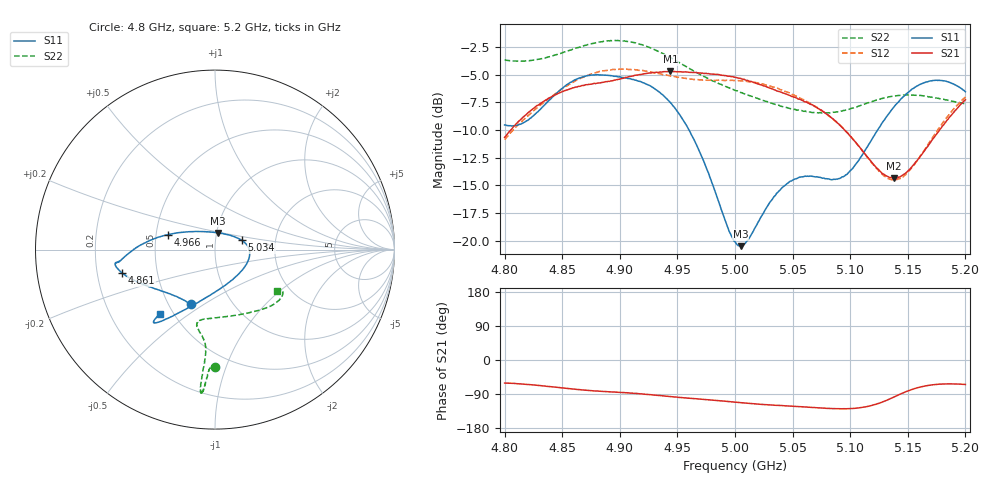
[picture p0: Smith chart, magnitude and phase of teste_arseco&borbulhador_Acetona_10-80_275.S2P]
! Network Analyzer HP8722D
! Hewlett-Packard
! Data name: Linha & Wilkinson
! Saver's name: Rodrigo Anjos
! Comments: Teste da utilização de aquisição
! continua pelo VNA HP8722D
! Time and date: 17/4/2025 16:39
!  Frequency  S11  S21  S12  S22
# HZ  S  MA R 50
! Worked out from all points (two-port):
!   401 points, 4.8 GHz to 5.2 GHz, reference 50 ohm
!   highest |S21| = -4.69 dB at 4.944 GHz (marker M1); lowest = -14.4 dB at 5.138 GHz (marker M2)
!   |S21| within 3 dB of the highest: 4.83 GHz to 5.066 GHz (236.4 MHz wide, 4.78 % of centre); 5.195722 GHz to end of sweep
!   lowest |S11| = -20.5 dB at 5.005 GHz (marker M3), VSWR 1.21, Z = 50.5 + j9.52 ohm
!   |S11| at or under -10 dB: 4.96 GHz to 5.124 GHz (163.6 MHz wide, 3.25 % of centre)
!   |S22| runs from -8.5 to -1.9 dB; largest |S21 - S12| = 0.88
!   S11 on the Smith chart (normalised r, x): 4.8 GHz: 0.64, -0.44; 4.861 GHz: 0.31, -0.11; 4.966 GHz: 0.58, +0.10; 5.034 GHz: 1.34, +0.14; 5.2 GHz: 0.42, -0.39
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4.8e9  0.3335 -113.7  0.2931 -60.9  0.2864 -175.1  0.6566 -90.2
4.819e9  0.3481 -133.7  0.3728 -64.3  0.3616 -173.8  0.651 -91.8
4.861e9  0.5337 -165.7  0.4933 -77.3  0.5272 -177.0  0.7388 -94.0
4.867e9  0.5488 -168.2  0.5026 -78.9  0.5446 -178.1  0.757 -94.2
4.9e9  0.5514 -172.6  0.5372 -85.4  0.5968 175.3  0.8015 -95.6
4.934e9  0.4713 -178.4  0.5779 -93.8  0.5707 171.7  0.7148 -95.9
4.944e9  0.4205 177.0  0.5829 -96.5  0.5551 171.9  0.6734 -95.7
4.966e9  0.2747 162.4  0.5759 -102.2  0.5352 173.7  0.5788 -95.1
5e9  0.09883 99.5  0.5483 -111.4  0.5298 176.1  0.4781 -99.2
5.005e9  0.0944 81.4  0.5417 -112.6  0.5277 175.8  0.4674 -100.5
5.012e9  0.1019 58.3  0.5272 -114.4  0.5241 175.8  0.4537 -101.8
5.034e9  0.1585 19.2  0.4811 -119.4  0.4946 174.6  0.4147 -103.5
5.05e9  0.1878 2.7  0.4481 -121.8  0.457 173.9  0.3932 -99.3
5.067e9  0.1955 -15.3  0.412 -125.3  0.4126 173.5  0.3795 -90.4
5.085e9  0.189 -43.7  0.3557 -128.3  0.3545 173.5  0.3812 -76.8
5.097e9  0.1991 -67.9  0.309 -128.6  0.3098 174.7  0.3905 -67.0
5.134e9  0.378 -117.1  0.1934 -103.1  0.19 -156.0  0.4471 -43.0
5.138e9  0.4024 -119.5  0.1913 -97.6  0.1883 -149.7  0.4505 -41.2
5.15e9  0.4669 -124.7  0.2061 -81.6  0.2036 -131.4  0.4562 -36.8
5.17e9  0.5278 -129.3  0.2795 -66.1  0.2855 -112.3  0.4463 -32.1
5.184e9  0.5241 -130.5  0.3503 -63.1  0.3617 -107.4  0.4327 -31.1
5.2e9  0.4716 -130.9  0.4337 -64.6  0.4461 -106.7  0.4155 -33.5
